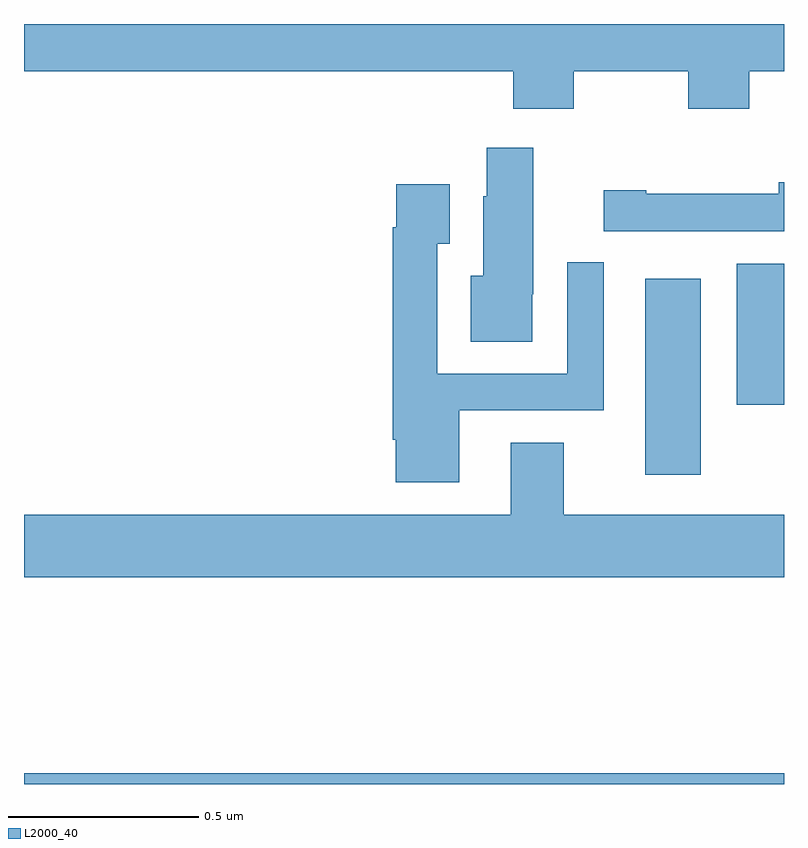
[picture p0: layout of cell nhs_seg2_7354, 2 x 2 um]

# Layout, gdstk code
import gdstk
lib = gdstk.Library(unit=1e-6, precision=1e-09)
def R(c, l, rs):  # rectangles x0, y0, x1, y1
    for r in rs: c.add(gdstk.rectangle(r[:2], r[2:], *l))
def P(c, l, *ps):  # polygons
    for p in ps: c.add(gdstk.Polygon(p, *l))
L2000_40 = (2000, 40)

nhs_seg2_7354 = lib.new_cell('nhs_seg2_7354')
R(nhs_seg2_7354, L2000_40, [(203,605.8,205,605.828), (204.635,606.614,204.781,607.129), (204.875,606.798,205,607.169)])
P(nhs_seg2_7354, L2000_40, [(204.447,607.676),(204.748,607.676),(204.748,607.577),(204.908,607.577),(204.908,607.676),(205,607.676),(205,607.8),(203,607.8),(203,607.676),(204.287,607.676),(204.287,607.577),(204.447,607.577)],
  [(204.337,607.089),(204.34,607.089),(204.34,607.474),(204.218,607.474),(204.218,607.347),(204.209,607.347),(204.209,607.138),(204.176,607.138),(204.176,606.964),(204.337,606.964)],
  [(205,607.383),(204.986,607.383),(204.986,607.353),(204.637,607.353),(204.637,607.363),(204.525,607.363),(204.525,607.254),(205,607.254)],
  [(204.145,606.783),(204.525,606.783),(204.525,607.173),(204.429,607.173),(204.429,606.879),(204.087,606.879),(204.087,607.222),(204.121,607.222),(204.121,607.378),(203.979,607.378),(203.979,607.265),(203.971,607.265),(203.971,606.706),(203.978,606.706),(203.978,606.594),(204.145,606.594)],
  [(205,606.508),(204.421,606.508),(204.421,606.698),(204.281,606.698),(204.281,606.508),(203,606.508),(203,606.344),(205,606.344)])

lib.write_gds('nhs_seg2_7354.gds')
